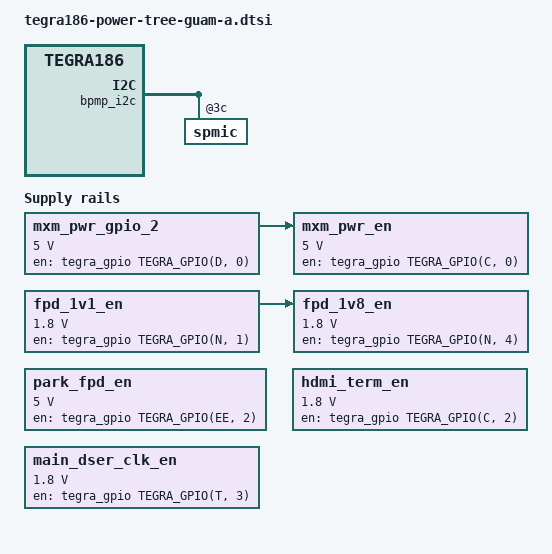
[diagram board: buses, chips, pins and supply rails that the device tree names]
/*
 * Copyright (c) 2016, NVIDIA CORPORATION.  All rights reserved.
 *
 * This program is free software; you can redistribute it and/or modify
 * it under the terms of the GNU General Public License as published by
 * the Free Software Foundation; either version 2 of the License, or
 * (at your option) any later version.
 *
 * This program is distributed in the hope that it will be useful, but WITHOUT
 * ANY WARRANTY; without even the implied warranty of MERCHANTABILITY or
 * FITNESS FOR A PARTICULAR PURPOSE.  See the GNU General Public License for
 * more details.
 */

#include "tegra186-platforms/tegra186-vcm31-power-tree-p2379-0000-c01-00.dtsi"

/ {

	/* using VBUS2_EN for USB2A */
	pinctrl@3520000 {
		/delete-property/ vbus-2-supply;
		vbus-0-supply = <&vdd_usb2_5v>;
	};

	/* Do not turn off LDO3, LDO3 is set to 1.8v in BCT PMIC */
	bpmp_i2c {
		spmic: spmic@3c {
			regulators {
				spmic_ldo3: ldo3 {
					regulator-always-on;
				};
			};
		};
	};

	fixed-regulators {

		/delete-node/regulator@5;
		/delete-node/regulator@6;

		mxm_pwr_gpio_2: regulator@5 {
			compatible = "regulator-fixed-sync";
			reg = <5>;
			regulator-name = "mxm-pwr-gpio-2";
			regulator-min-microvolt = <5000000>;
			regulator-max-microvolt = <5000000>;
			gpio = <&tegra_gpio TEGRA_GPIO(D, 0) 0>;
			startup-delay-us = <5000>;	/* 5 ms */
			enable-active-high;
			regulator-always-on;
		};
		mxm_pwr_en: regulator@8{
			compatible = "regulator-fixed-sync";
			reg = <8>;
			regulator-name = "mxm-pwr_en";
			regulator-min-microvolt = <5000000>;
			regulator-max-microvolt = <5000000>;
			gpio = <&tegra_gpio TEGRA_GPIO(C, 0) 0>;
			startup-delay-us = <100000>;	/* 100 ms */
			enable-active-high;
			regulator-always-on;
			vin-supply = <&mxm_pwr_gpio_2>;
		};
		fpd_1v1_en: regulator@9 {
			compatible = "regulator-fixed-sync";
			reg = <9>;
			regulator-name = "park-fpd-1v1-en";
			regulator-min-microvolt = <1800000>;
			regulator-max-microvolt = <1800000>;
			gpio = <&tegra_gpio TEGRA_GPIO(N, 1) 0>;
			enable-active-high;
			regulator-always-on;
		};
		fpd_1v8_en: regulator@10{
			compatible = "regulator-fixed-sync";
			reg = <10>;
			regulator-name = "park-1v8-fpd-en";
			regulator-min-microvolt = <1800000>;
			regulator-max-microvolt = <1800000>;
			gpio = <&tegra_gpio TEGRA_GPIO(N, 4) 0>;
			startup-delay-us = <100000>;
			enable-active-high;
			regulator-always-on;
			vin-supply = <&fpd_1v1_en>;
		};
		park_fpd_en: regulator@12 {
			compatible = "regulator-fixed-sync";
			reg = <12>;
			regulator-name = "park-fpd-en";
			regulator-min-microvolt = <5000000>;
			regulator-max-microvolt = <5000000>;
			gpio = <&tegra_gpio TEGRA_GPIO(EE, 2) 0>;
			enable-active-high;
			regulator-always-on;
		};
		hdmi_term_en: regulator@13 {
			compatible = "regulator-fixed-sync";
			reg = <13>;
			regulator-name = "park-hdmi-term-en";
			regulator-min-microvolt = <1800000>;
			regulator-max-microvolt = <1800000>;
			gpio = <&tegra_gpio TEGRA_GPIO(C, 2) 0>;
			enable-active-high;
			regulator-always-on;
		};
		main_dser_clk_en: regulator@14 {
			compatible = "regulator-fixed-sync";
			reg = <14>;
			regulator-name = "park-main-dser-clk-en";
			regulator-min-microvolt = <1800000>;
			regulator-max-microvolt = <1800000>;
			gpio = <&tegra_gpio TEGRA_GPIO(T, 3) 0>;
			enable-active-high;
			regulator-always-on;
		};
	};
};
